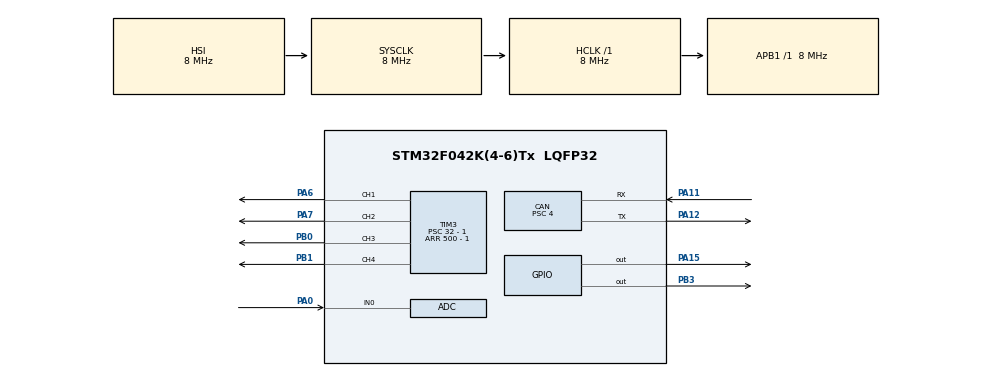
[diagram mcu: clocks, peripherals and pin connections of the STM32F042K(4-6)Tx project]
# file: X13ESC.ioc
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ADC.SamplingTime=ADC_SAMPLETIME_71CYCLES_5
CAN.BS1=CAN_BS1_11TQ
CAN.BS2=CAN_BS2_4TQ
CAN.CalculateTimeQuantum=500.0
CAN.Prescaler=4
CAN.SJW=CAN_SJW_1TQ
Mcu.Family=STM32F0
Mcu.Name=STM32F042K(4-6)Tx
Mcu.Package=LQFP32
NVIC.ADC1_IRQn=true\:0\:0\:false\:false\:true\:true\:true
NVIC.CEC_CAN_IRQn=true\:0\:0\:false\:false\:true\:true\:true
NVIC.TIM14_IRQn=true\:0\:0\:false\:false\:true\:true\:true
PA0.Mode=IN0
PA0.Signal=ADC_IN0
PA11.Mode=Master
PA11.Signal=CAN_RX
PA12.Mode=Master
PA12.Signal=CAN_TX
PA15.Signal=GPIO_Output
PA6.Signal=S_TIM3_CH1
PA7.Signal=S_TIM3_CH2
PB0.Signal=S_TIM3_CH3
PB1.Signal=S_TIM3_CH4
PB3.Signal=GPIO_Output
ProjectManager.HeapSize=0x200
ProjectManager.StackSize=0x400
ProjectManager.TargetToolchain=STM32CubeIDE
RCC.AHBFreq_Value=8000000
RCC.APB1Freq_Value=8000000
RCC.APB1TimFreq_Value=8000000
RCC.HCLKFreq_Value=8000000
RCC.SYSCLKFreq_VALUE=8000000
SH.S_TIM3_CH1.0=TIM3_CH1,PWM Generation1 CH1
SH.S_TIM3_CH2.0=TIM3_CH2,PWM Generation2 CH2
SH.S_TIM3_CH3.0=TIM3_CH3,PWM Generation3 CH3
SH.S_TIM3_CH4.0=TIM3_CH4,PWM Generation4 CH4
TIM14.Period=65535
TIM14.Prescaler=8000 - 1
TIM3.AutoReloadPreload=TIM_AUTORELOAD_PRELOAD_ENABLE
TIM3.Channel-PWM\ Generation1\ CH1=TIM_CHANNEL_1
TIM3.Channel-PWM\ Generation2\ CH2=TIM_CHANNEL_2
TIM3.Channel-PWM\ Generation3\ CH3=TIM_CHANNEL_3
TIM3.Channel-PWM\ Generation4\ CH4=TIM_CHANNEL_4
TIM3.Period=500 - 1
TIM3.Prescaler=32 - 1
TIM3.Pulse-PWM\ Generation1\ CH1=375
TIM3.Pulse-PWM\ Generation2\ CH2=375
TIM3.Pulse-PWM\ Generation3\ CH3=375
TIM3.Pulse-PWM\ Generation4\ CH4=375
VP_TIM14_VS_ClockSourceINT.Mode=Enable_Timer
board=custom

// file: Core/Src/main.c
/* USER CODE BEGIN Header */
/**
  ******************************************************************************
  * @file           : main.c
  * @brief          : Main program body
  ******************************************************************************
  * @attention
  *
  * <h2><center>&copy; Copyright (c) 2021 STMicroelectronics.
  * All rights reserved.</center></h2>
  *
  * This software component is licensed by ST under BSD 3-Clause license,
  * the "License"; You may not use this file except in compliance with the
  * License. You may obtain a copy of the License at:
  *                        opensource.org/licenses/BSD-3-Clause
  *
  ******************************************************************************
  */
/* USER CODE END Header */
#include "main.h"

/* USER CODE BEGIN Includes */
#include <assert.h>
#include "common.h"
#include "canFilterBankConfig.h"

#pragma GCC diagnostic warning "-Wunused-macros"
#pragma GCC diagnostic warning "-Wunused-parameter"
#pragma GCC diagnostic warning "-Wsign-compare"
#pragma GCC diagnostic warning "-Wconversion"
#pragma GCC diagnostic warning "-Wredundant-decls"
#pragma GCC diagnostic warning "-Wswitch-default"
#pragma GCC diagnostic warning "-Wswitch-enum"

/* USER CODE END Includes */

/* USER CODE BEGIN PD */

#define NUM_ADC_INIT_WAIT_MS 500

/*
 * The resistor voltage divisions for the CAN ID have a pull up on the ESC controller board
 * where this micro is. The pull down is on the backplane. ID 206 will be used if the board
 * is unconnected, resulting in ADC value of VCC (4095). The other voltage divisions are
 * designed to be at 0.3, 0.5, and 0.7 VCC. So the "bins" for them will be 0.2 to 0.4 are 0.3
 * or ID 201, 0.4 to 0.6 are 0.5 or ID 202, and 0.6 to 0.8 are 0.7 or ID 203.
 */

#define ADC_MAX_VALUE (4095)
#define CAN_ID_201_LOW_THRESHOLD (ADC_MAX_VALUE / 5)
#define CAN_ID_202_LOW_THRESHOLD (ADC_MAX_VALUE / 5 * 2)
#define CAN_ID_203_LOW_THRESHOLD (ADC_MAX_VALUE / 5 * 3)
#define CAN_ID_206_LOW_THRESHOLD (ADC_MAX_VALUE / 5 * 4)
#define CAN_ID_201_HIGH_THRESHOLD (CAN_ID_202_LOW_THRESHOLD - 1)
#define CAN_ID_202_HIGH_THRESHOLD (CAN_ID_203_LOW_THRESHOLD - 1)
#define CAN_ID_203_HIGH_THRESHOLD (CAN_ID_206_LOW_THRESHOLD - 1)
#define CAN_ID_206_HIGH_THRESHOLD ADC_MAX_VALUE
#define CAN_ID_ERROR 0x206

#define CAN_ID_201_FLASH_MS 1000
#define CAN_ID_202_FLASH_MS 500
#define CAN_ID_203_FLASH_MS 250
#define CAN_ID_206_FLASH_MS 2000
#define ERROR_FLASH_MS 4000

/* USER CODE END PD */

ADC_HandleTypeDef hadc;

CAN_HandleTypeDef hcan;

TIM_HandleTypeDef htim3;
TIM_HandleTypeDef htim14;

/* USER CODE BEGIN PV */

uint8_ft adcConfigured = 0;
uint32_t canId = CAN_ID_ERROR;

/* USER CODE END PV */

void SystemClock_Config(void);
static void MX_GPIO_Init(void);
static void MX_CAN_Init(void);
static void MX_ADC_Init(void);
static void MX_TIM14_Init(void);
static void MX_TIM3_Init(void);
/* USER CODE BEGIN PFP */

void EnablePWMOutput(TIM_HandleTypeDef *_htim);

void CAN_ConfigureFilterForThrusterOperation(void);

//  Interrupt Callback Functions
void CAN_FIFO0_RXMessagePendingCallback(CAN_HandleTypeDef *_hcan);
void ADC_ConversionCompleteCallback(ADC_HandleTypeDef *_hadc);
void TIM14_TimeElapsedCallback(TIM_HandleTypeDef *_htim);

/* USER CODE END PFP */

int main(void)
{

  /* MCU Configuration--------------------------------------------------------*/

  /* Reset of all peripherals, Initializes the Flash interface and the Systick. */
  HAL_Init();

  /* Configure the system clock */
  SystemClock_Config();

  /* Initialize all configured peripherals */
  MX_GPIO_Init();
  MX_CAN_Init();
  MX_ADC_Init();
  MX_TIM14_Init();
  MX_TIM3_Init();
  /* USER CODE BEGIN 2 */

  EnablePWMOutput(&htim3);
  // HAL_TIM_Base_Start_IT(&htim14);
  HAL_GPIO_WritePin(GPIOB, GPIO_PIN_3, GPIO_PIN_SET);

  /* USER CODE END 2 */

  /* Infinite loop */
  while (1)
  {

  }
}

void SystemClock_Config(void)
{
  RCC_OscInitTypeDef RCC_OscInitStruct = {0};
  RCC_ClkInitTypeDef RCC_ClkInitStruct = {0};

  /** Initializes the RCC Oscillators according to the specified parameters
  * in the RCC_OscInitTypeDef structure.
  */
  RCC_OscInitStruct.OscillatorType = RCC_OSCILLATORTYPE_HSI|RCC_OSCILLATORTYPE_HSI14;
  RCC_OscInitStruct.HSIState = RCC_HSI_ON;
  RCC_OscInitStruct.HSI14State = RCC_HSI14_ON;
  RCC_OscInitStruct.HSICalibrationValue = RCC_HSICALIBRATION_DEFAULT;
  RCC_OscInitStruct.HSI14CalibrationValue = 16;
  RCC_OscInitStruct.PLL.PLLState = RCC_PLL_NONE;
  if (HAL_RCC_OscConfig(&RCC_OscInitStruct) != HAL_OK)
  {
    Error_Handler();
  }
  /** Initializes the CPU, AHB and APB buses clocks
  */
  RCC_ClkInitStruct.ClockType = RCC_CLOCKTYPE_HCLK|RCC_CLOCKTYPE_SYSCLK
                              |RCC_CLOCKTYPE_PCLK1;
  RCC_ClkInitStruct.SYSCLKSource = RCC_SYSCLKSOURCE_HSI;
  RCC_ClkInitStruct.AHBCLKDivider = RCC_SYSCLK_DIV1;
  RCC_ClkInitStruct.APB1CLKDivider = RCC_HCLK_DIV1;

  if (HAL_RCC_ClockConfig(&RCC_ClkInitStruct, FLASH_LATENCY_0) != HAL_OK)
  {
    Error_Handler();
  }
}

static void MX_ADC_Init(void)
{

  ADC_ChannelConfTypeDef sConfig = {0};

  /** Configure the global features of the ADC (Clock, Resolution, Data Alignment and number of conversion)
  */
  hadc.Instance = ADC1;
  hadc.Init.ClockPrescaler = ADC_CLOCK_ASYNC_DIV1;
  hadc.Init.Resolution = ADC_RESOLUTION_12B;
  hadc.Init.DataAlign = ADC_DATAALIGN_RIGHT;
  hadc.Init.ScanConvMode = ADC_SCAN_DIRECTION_FORWARD;
  hadc.Init.EOCSelection = ADC_EOC_SINGLE_CONV;
  hadc.Init.LowPowerAutoWait = DISABLE;
  hadc.Init.LowPowerAutoPowerOff = DISABLE;
  hadc.Init.ContinuousConvMode = DISABLE;
  hadc.Init.DiscontinuousConvMode = DISABLE;
  hadc.Init.ExternalTrigConv = ADC_SOFTWARE_START;
  hadc.Init.ExternalTrigConvEdge = ADC_EXTERNALTRIGCONVEDGE_NONE;
  hadc.Init.DMAContinuousRequests = DISABLE;
  hadc.Init.Overrun = ADC_OVR_DATA_PRESERVED;
  if (HAL_ADC_Init(&hadc) != HAL_OK)
  {
    Error_Handler();
  }
  /** Configure for the selected ADC regular channel to be converted.
  */
  sConfig.Channel = ADC_CHANNEL_0;
  sConfig.Rank = ADC_RANK_CHANNEL_NUMBER;
  sConfig.SamplingTime = ADC_SAMPLETIME_71CYCLES_5;
  if (HAL_ADC_ConfigChannel(&hadc, &sConfig) != HAL_OK)
  {
    Error_Handler();
  }
  /* USER CODE BEGIN ADC_Init 2 */

  //  Configure ADC Interrupt Callback
  HAL_ADC_RegisterCallback(&hadc, HAL_ADC_CONVERSION_COMPLETE_CB_ID, ADC_ConversionCompleteCallback);

  //  Calibrate ADC
  HAL_ADCEx_Calibration_Start(&hadc);

  /* USER CODE END ADC_Init 2 */

}

static void MX_CAN_Init(void)
{

  /* USER CODE BEGIN CAN_Init 1 */

  //  125kbps baud rate is configured
  //  HAL_CAN_Init() enters and stays in Initialization Mode
  /* USER CODE END CAN_Init 1 */
  hcan.Instance = CAN;
  hcan.Init.Prescaler = 4;
  hcan.Init.Mode = CAN_MODE_NORMAL;
  hcan.Init.SyncJumpWidth = CAN_SJW_1TQ;
  hcan.Init.TimeSeg1 = CAN_BS1_11TQ;
  hcan.Init.TimeSeg2 = CAN_BS2_4TQ;
  hcan.Init.TimeTriggeredMode = DISABLE;
  hcan.Init.AutoBusOff = DISABLE;
  hcan.Init.AutoWakeUp = DISABLE;
  hcan.Init.AutoRetransmission = DISABLE;
  hcan.Init.ReceiveFifoLocked = DISABLE;
  hcan.Init.TransmitFifoPriority = DISABLE;
  if (HAL_CAN_Init(&hcan) != HAL_OK)
  {
    Error_Handler();
  }
  /* USER CODE BEGIN CAN_Init 2 */

  //  Enable FIFO0 Message Pending Interrupt
  HAL_CAN_ActivateNotification(&hcan, CAN_IT_RX_FIFO0_MSG_PENDING);

  //  Configure CAN Interrupt Callbacks
  HAL_CAN_RegisterCallback(&hcan, HAL_CAN_RX_FIFO0_MSG_PENDING_CB_ID, CAN_FIFO0_RXMessagePendingCallback);

  /* USER CODE END CAN_Init 2 */

}

static void MX_TIM3_Init(void)
{

  TIM_MasterConfigTypeDef sMasterConfig = {0};
  TIM_OC_InitTypeDef sConfigOC = {0};

  htim3.Instance = TIM3;
  htim3.Init.Prescaler = 32 - 1;
  htim3.Init.CounterMode = TIM_COUNTERMODE_UP;
  htim3.Init.Period = 500 - 1;
  htim3.Init.ClockDivision = TIM_CLOCKDIVISION_DIV1;
  htim3.Init.AutoReloadPreload = TIM_AUTORELOAD_PRELOAD_ENABLE;
  if (HAL_TIM_PWM_Init(&htim3) != HAL_OK)
  {
    Error_Handler();
  }
  sMasterConfig.MasterOutputTrigger = TIM_TRGO_RESET;
  sMasterConfig.MasterSlaveMode = TIM_MASTERSLAVEMODE_DISABLE;
  if (HAL_TIMEx_MasterConfigSynchronization(&htim3, &sMasterConfig) != HAL_OK)
  {
    Error_Handler();
  }
  sConfigOC.OCMode = TIM_OCMODE_PWM1;
  sConfigOC.Pulse = 375;
  sConfigOC.OCPolarity = TIM_OCPOLARITY_HIGH;
  sConfigOC.OCFastMode = TIM_OCFAST_DISABLE;
  if (HAL_TIM_PWM_ConfigChannel(&htim3, &sConfigOC, TIM_CHANNEL_1) != HAL_OK)
  {
    Error_Handler();
  }
  if (HAL_TIM_PWM_ConfigChannel(&htim3, &sConfigOC, TIM_CHANNEL_2) != HAL_OK)
  {
    Error_Handler();
  }
  if (HAL_TIM_PWM_ConfigChannel(&htim3, &sConfigOC, TIM_CHANNEL_3) != HAL_OK)
  {
    Error_Handler();
  }
  if (HAL_TIM_PWM_ConfigChannel(&htim3, &sConfigOC, TIM_CHANNEL_4) != HAL_OK)
  {
    Error_Handler();
  }
  HAL_TIM_MspPostInit(&htim3);

}

static void MX_TIM14_Init(void)
{

  htim14.Instance = TIM14;
  htim14.Init.Prescaler = 8000 - 1;
  htim14.Init.CounterMode = TIM_COUNTERMODE_UP;
  htim14.Init.Period = 65535;
  htim14.Init.ClockDivision = TIM_CLOCKDIVISION_DIV1;
  htim14.Init.AutoReloadPreload = TIM_AUTORELOAD_PRELOAD_DISABLE;
  if (HAL_TIM_Base_Init(&htim14) != HAL_OK)
  {
    Error_Handler();
  }
  /* USER CODE BEGIN TIM14_Init 2 */

  //  Reconfigure Timer ARR to count up to NUM_ADC_INIT_WAIT_MS ms until ADC conversion start
  htim14.Init.Period = NUM_ADC_INIT_WAIT_MS - 1;
  htim14.Instance->ARR = htim14.Init.Period;

  //  Configure Timer Interrupt Callback
  HAL_TIM_RegisterCallback(&htim14, HAL_TIM_PERIOD_ELAPSED_CB_ID, TIM14_TimeElapsedCallback);

  HAL_TIM_Base_Start_IT(&htim14);
  /* USER CODE END TIM14_Init 2 */

}

static void MX_GPIO_Init(void)
{
  GPIO_InitTypeDef GPIO_InitStruct = {0};

  /* GPIO Ports Clock Enable */
  __HAL_RCC_GPIOA_CLK_ENABLE();
  __HAL_RCC_GPIOB_CLK_ENABLE();

  /*Configure GPIO pin Output Level */
  HAL_GPIO_WritePin(GPIOA, GPIO_PIN_15, GPIO_PIN_RESET);

  /*Configure GPIO pin Output Level */
  HAL_GPIO_WritePin(GPIOB, GPIO_PIN_3, GPIO_PIN_RESET);

  /*Configure GPIO pin : PA15 */
  GPIO_InitStruct.Pin = GPIO_PIN_15;
  GPIO_InitStruct.Mode = GPIO_MODE_OUTPUT_PP;
  GPIO_InitStruct.Pull = GPIO_NOPULL;
  GPIO_InitStruct.Speed = GPIO_SPEED_FREQ_LOW;
  HAL_GPIO_Init(GPIOA, &GPIO_InitStruct);

  /*Configure GPIO pin : PB3 */
  GPIO_InitStruct.Pin = GPIO_PIN_3;
  GPIO_InitStruct.Mode = GPIO_MODE_OUTPUT_PP;
  GPIO_InitStruct.Pull = GPIO_NOPULL;
  GPIO_InitStruct.Speed = GPIO_SPEED_FREQ_LOW;
  HAL_GPIO_Init(GPIOB, &GPIO_InitStruct);

}

/* USER CODE BEGIN 4 */

void EnablePWMOutput(TIM_HandleTypeDef *_htim) {
	//  Set HAL Timer Channel Status
	TIM_CHANNEL_STATE_SET_ALL(_htim, HAL_TIM_CHANNEL_STATE_BUSY);

	//  Enable outputs for all 4 PWM Channels
	_htim->Instance->CCER |= (TIM_CCER_CC1E | TIM_CCER_CC2E | TIM_CCER_CC3E | TIM_CCER_CC4E);

	//  Enable Timer Counter
	_htim->Instance->CR1 |= TIM_CR1_CEN;
}

void CAN_ConfigureFilterForThrusterOperation(void)
{
	CAN_FilterTypeDef thrusterOperationFilter;
	CAN_FilterBank canFilterBank;
	CAN_FilterIDMaskConfig canFilterId;
	CAN_FilterIDMaskConfig canFilterMask;

	//  Configure Filter Bank Parameters except ID and Mask
	thrusterOperationFilter.FilterFIFOAssignment = CAN_FILTER_FIFO0;
	thrusterOperationFilter.FilterBank = 0;
	thrusterOperationFilter.FilterMode = CAN_FILTERMODE_IDMASK;
	thrusterOperationFilter.FilterScale = CAN_FILTERSCALE_32BIT;
	thrusterOperationFilter.FilterActivation = CAN_FILTER_ENABLE;

	//  Configure only ID and Mask Filter Bank Parameters
	canFilterBank.filterMode = CANIDFilterMode_32BitMask;

	canFilterId.stdId = canId;
	canFilterId.extId = 0;
	canFilterId.ide = CAN_IDE_CLEAR;
	canFilterId.rtr = CAN_RTR_CLEAR;

	canFilterMask.stdId = 0x7FF;
	canFilterMask.extId = 0;
	canFilterMask.ide = CAN_IDE_CLEAR;
	canFilterMask.rtr = CAN_RTR_CLEAR;

	canFilterBank.id1 = &canFilterId;
	canFilterBank.mask1 = &canFilterMask;

	CAN_ConfigureFilterBank(&thrusterOperationFilter, &canFilterBank);
	HAL_CAN_ConfigFilter(&hcan, &thrusterOperationFilter);
}

//  Handles ONLY the Reception of Thruster Operation CAN Packets
void CAN_FIFO0_RXMessagePendingCallback(CAN_HandleTypeDef *_hcan)
{
	uint32_t data_32 = _hcan->Instance->sFIFOMailBox[0].RDHR;
	uint8_t *data = (uint8_t *)&data_32;

	assert(_hcan->Instance->sFIFOMailBox[0].RIR >> 21 == canId);

	HAL_GPIO_WritePin(GPIOA, GPIO_PIN_15, GPIO_PIN_SET);
	// HAL_GPIO_TogglePin(GPIOA, GPIO_PIN_15);

	//  Release Output Mailbox
	SET_BIT(_hcan->Instance->RF0R, CAN_RF0R_RFOM0);

	htim3.Instance->CR1 |= TIM_CR1_UDIS;  //  Disable UEV Generation

	htim3.Instance->CCR1 = (uint32_t) data[0] + 250;
	htim3.Instance->CCR2 = (uint32_t) data[1] + 250;
	htim3.Instance->CCR3 = (uint32_t) data[2] + 250;
	htim3.Instance->CCR4 = (uint32_t) data[3] + 250;

	htim3.Instance->CR1 &= ~TIM_CR1_UDIS;  //  Re-enable UEV Generation
}

void ADC_ConversionCompleteCallback(ADC_HandleTypeDef *_hadc)
{
	uint32_t adcValue = HAL_ADC_GetValue(_hadc);

	if (CAN_ID_201_LOW_THRESHOLD <= adcValue && adcValue <= CAN_ID_201_HIGH_THRESHOLD)
	{
		canId = 0x201;
		htim14.Init.Period = CAN_ID_201_FLASH_MS - 1;
	}
	else if (CAN_ID_202_LOW_THRESHOLD <= adcValue && adcValue <= CAN_ID_202_HIGH_THRESHOLD)
	{
		canId = 0x202;
		htim14.Init.Period = CAN_ID_202_FLASH_MS - 1;
	}
	else if (CAN_ID_203_LOW_THRESHOLD <= adcValue && adcValue <= CAN_ID_203_HIGH_THRESHOLD)
	{
		canId = 0x203;
		htim14.Init.Period = CAN_ID_203_FLASH_MS - 1;
	}
	else if (CAN_ID_206_LOW_THRESHOLD <= adcValue && adcValue <= CAN_ID_206_HIGH_THRESHOLD)
	{
		htim14.Init.Period = CAN_ID_206_FLASH_MS - 1;
	}
	else
	{
		htim14.Init.Period = ERROR_FLASH_MS - 1;
	}

	HAL_ADC_Stop_IT(_hadc);

	//  Configure CAN Filter for Thrusters and
	CAN_ConfigureFilterForThrusterOperation();
	HAL_CAN_Start(&hcan);  //  Enters Normal Operating Mode

	//  Restart TIM14 to flash PA15 LED
	htim14.Instance->ARR = htim14.Init.Period;
	HAL_TIM_Base_Start_IT(&htim14);
}

void TIM14_TimeElapsedCallback(TIM_HandleTypeDef *_htim)
{
	if (!adcConfigured)
	{
		HAL_TIM_Base_Stop_IT(_htim);
		HAL_ADC_Start_IT(&hadc);
		adcConfigured = 1;
	}
	else
	{
		HAL_GPIO_TogglePin(GPIOA, GPIO_PIN_15);
	}
}

/* USER CODE END 4 */

void Error_Handler(void)
{
}

/************************ (C) COPYRIGHT STMicroelectronics *****END OF FILE****/
